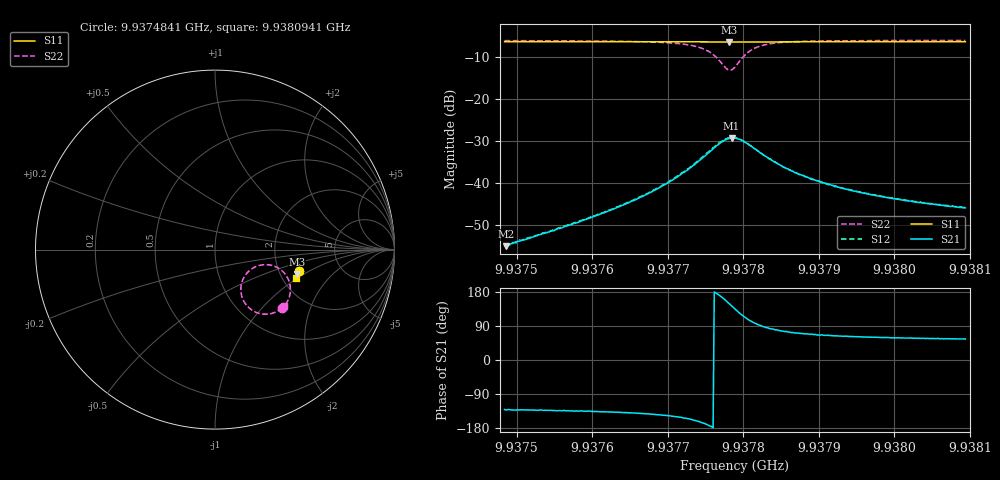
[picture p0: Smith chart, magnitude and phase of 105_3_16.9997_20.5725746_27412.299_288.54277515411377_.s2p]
#  HZ  S  RI  R  50.00
! Rohde & Schwarz Vector Network Analyzer
! Rohde-Schwarz,ZNB20-2Port,1311601062101988,3.16
! Created: UTC 3/20/2024, 10:56:48 PM
! freq[Hz]  re:S11  im:S11  re:S21  im:S21  re:S12  im:S12  re:S22  im:S22
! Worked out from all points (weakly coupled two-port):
!   401 points, 9.9374841 GHz to 9.9380941 GHz, reference 50 ohm
!   highest |S21| = -29.27 dB at 9.9377845 GHz (marker M1); lowest = -55.0 dB at 9.9374856 GHz (marker M2)
!   lowest |S11| = -6.4 dB at 9.9377814 GHz (marker M3), VSWR 2.83, Z = 123 - j43.5 ohm
!   |S11| at or under -10 dB: nowhere
!   |S22| runs from -13.1 to -6.0 dB; largest |S21 - S12| = 0.0017
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9.93748405e9  0.468 -0.1183  -0.00116 -0.00135  -0.00123 -0.00133  0.3751 -0.3246
9.93748558e9  0.4678 -0.1184  -0.00118 -0.00132  -0.0012 -0.00135  0.3749 -0.3249
9.93758623e9  0.4655 -0.1252  -0.00249 -0.00256  -0.0026 -0.00251  0.3581 -0.3373
9.93764418e9  0.4641 -0.1291  -0.00423 -0.0037  -0.00438 -0.00372  0.3396 -0.3474
9.93768841e9  0.4629 -0.1324  -0.00716 -0.00508  -0.00738 -0.00507  0.3124 -0.3564
9.93771281e9  0.4618 -0.1342  -0.0102 -0.00591  -0.0106 -0.00585  0.2846 -0.3598
9.93773263e9  0.461 -0.1355  -0.0147 -0.00614  -0.0152 -0.00588  0.2475 -0.3554
9.93774636e9  0.4601 -0.1363  -0.0195 -0.00478  -0.0202 -0.00462  0.21 -0.3398
9.93775856e9  0.4589 -0.137  -0.0248 -0.00139  -0.0257 -0.000856  0.1705 -0.3033
9.93776923e9  0.4581 -0.1368  -0.0293 0.00545  -0.0299 0.00655  0.1452 -0.241
9.93777686e9  0.4575 -0.1366  -0.0302 0.0127  -0.0304 0.0144  0.1506 -0.1796
9.93778143e9  0.4574 -0.1363  -0.029 0.0177  -0.029 0.0192  0.1683 -0.1433
9.93778448e9  0.4576 -0.1361  -0.0275 0.0207  -0.0271 0.0223  0.1861 -0.1222
9.93778906e9  0.4576 -0.1358  -0.024 0.0246  -0.0234 0.0258  0.22 -0.0982
9.93779668e9  0.4584 -0.1357  -0.0169 0.0281  -0.0159 0.029  0.2821 -0.0836
9.93780583e9  0.4592 -0.1361  -0.0089 0.028  -0.00794 0.0284  0.3435 -0.0978
9.93782108e9  0.4597 -0.1375  -0.000936 0.0234  -0.000132 0.0234  0.3979 -0.1464
9.93785158e9  0.4598 -0.1402  0.0037 0.0154  0.00409 0.0153  0.4204 -0.2173
9.93789123e9  0.4589 -0.1435  0.0041 0.0103  0.00444 0.0104  0.4152 -0.2604
9.93792936e9  0.4579 -0.1461  0.00395 0.0078  0.00412 0.00774  0.4076 -0.2808
9.93799341e9  0.4564 -0.1506  0.00341 0.0057  0.00358 0.00568  0.3974 -0.2997
9.93809406e9  0.4539 -0.1571  0.00287 0.00417  0.00298 0.00416  0.3859 -0.3159
